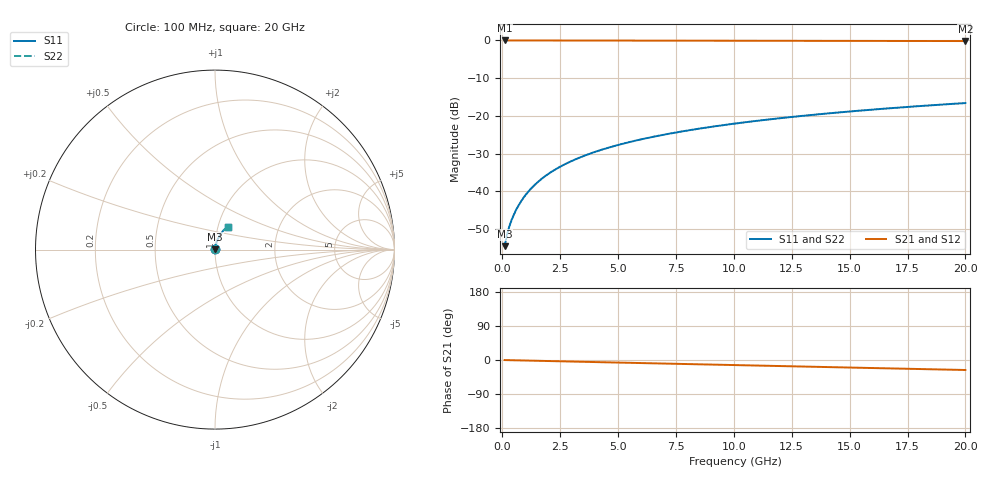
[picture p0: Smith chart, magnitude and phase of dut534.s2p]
! Touchstone file exported from HFSS 2026.1.0
!  File:  C:/ffzhzh/LocalFiles/Ansys_Project_Files/temp_train_TMRDL_534_1783007355_55676.aedt
!  Generated:  11:50:42 PM Jul  2, 2026
!  Design:  TMRDL
!  Project:  temp_train_TMRDL_534_1783007355_55676
! Variables:
!  h_bsmrdl = 2um
!  h_ox = 20um
!  h_rdl = 5um
!  h_sub = 80um
!  h_tmrdl = 4.26um
!  h_tsv = 80um
!  h_via = 3um
!  l_bsmrdl = 300um
!  l_sub = 823.66um
!  l_tmrdl = 423.66um
!  m_sub = 200um
!  pitch = 39.63um
!  r_tsv = 6um
!  s_tmrdl = 10um
!  w_bsmrdl = 18um
!  w_sub = 500um
!  w_tmrdl = 26.82um
!  x_tsv_center1 = 437.07um
!  x_tsv_center2 = 755.07um
!  x_tsv_center3 = 1205.55um
!  x_tsv_center4 = 1523.55um
!  x_tsv_center5 = 1974.03um
!  x_tsv_center6 = 2292.03um
# GHz S MA R 50.000000
! Terminal data exported
! Port[1] = TM_RDL1_1_T1
! Port[2] = TM_RDL1_1_T2
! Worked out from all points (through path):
!   200 points, 100 MHz to 20 GHz, reference 50 ohm
!   highest |S21| = -0.01 dB at 100 MHz (marker M1); lowest = -0.2 dB at 20 GHz (marker M2)
!   group delay of S21, straight-line fit = 3.65 ps
!   lowest |S11| = -54.5 dB at 100 MHz (marker M3), VSWR 1.00, Z = 50.2 + j0.107 ohm
!   |S11| at or under -10 dB: start of sweep to end of sweep
!   |S22| runs from -54.5 to -16.6 dB; largest |S21 - S12| = 4.1e-15
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0.1  0.001889 34.4  0.9984 -0.1  0.9984 -0.1  0.001889 34.4
! Gamma 0 0 0 0
! Port Impedance 50 0 50 0
0.2  0.002649 49.3  0.9983 -0.3  0.9983 -0.3  0.002649 49.3
0.3  0.003418 56.8  0.9981 -0.4  0.9981 -0.4  0.003418 56.8
0.4  0.004179 61.8  0.9981 -0.6  0.9981 -0.6  0.004179 61.8
0.5  0.004947 65.4  0.998 -0.7  0.998 -0.7  0.004947 65.4
0.6  0.005726 68.2  0.9979 -0.8  0.9979 -0.8  0.005726 68.2
0.8  0.007318 72.0  0.9979 -1.1  0.9979 -1.1  0.007318 72.0
1  0.008941 74.5  0.9978 -1.4  0.9978 -1.4  0.008941 74.5
1.2  0.01058 76.1  0.9977 -1.7  0.9977 -1.7  0.01058 76.1
1.4  0.01223 77.1  0.9976 -1.9  0.9976 -1.9  0.01223 77.1
1.7  0.01471 78.2  0.9975 -2.3  0.9975 -2.3  0.01471 78.2
2.2  0.01883 78.9  0.9972 -3.0  0.9972 -3.0  0.01883 78.9
2.8  0.02374 79.1  0.9968 -3.8  0.9968 -3.8  0.02374 79.1
3.5  0.0294 78.9  0.9963 -4.8  0.9963 -4.8  0.0294 78.9
4.2  0.03499 78.3  0.9958 -5.7  0.9958 -5.7  0.03499 78.3
5  0.04128 77.6  0.9951 -6.8  0.9951 -6.8  0.04128 77.6
6.8  0.05513 75.7  0.9936 -9.2  0.9936 -9.2  0.05513 75.7
8.3  0.0664 74.0  0.9922 -11.2  0.9922 -11.2  0.0664 74.1
10.1  0.07968 72.0  0.9906 -13.5  0.9906 -13.5  0.07968 72.0
13.4  0.1034 68.2  0.9874 -17.8  0.9874 -17.8  0.1034 68.2
16.7  0.1262 64.3  0.984 -22.1  0.984 -22.1  0.1262 64.3
20  0.1481 60.3  0.9803 -26.4  0.9803 -26.4  0.1481 60.3
